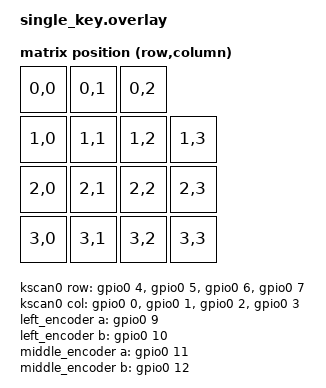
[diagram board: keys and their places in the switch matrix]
#include <dt-bindings/zmk/matrix_transform.h>
#include <zephyr/dt-bindings/input/input-event-codes.h>
/* Reference: https://docs.zephyrproject.org/apidoc/latest/group__input__events.html */

&adc {
	status = "okay";
};

/ {
	kscan0: kscan0 {
		compatible = "zmk,kscan-gpio-matrix";
		diode-direction = "col2row";
		wakeup-source;
		
		col-gpios
		= <&gpio0 0 GPIO_ACTIVE_HIGH>
		, <&gpio0 1 GPIO_ACTIVE_HIGH>
		, <&gpio0 2 GPIO_ACTIVE_HIGH>
		, <&gpio0 3 GPIO_ACTIVE_HIGH>
		;
		
		row-gpios
		= <&gpio0 4 (GPIO_ACTIVE_HIGH | GPIO_PULL_DOWN)>
		, <&gpio0 5 (GPIO_ACTIVE_HIGH | GPIO_PULL_DOWN)>
		, <&gpio0 6 (GPIO_ACTIVE_HIGH | GPIO_PULL_DOWN)>
		, <&gpio0 7 (GPIO_ACTIVE_HIGH | GPIO_PULL_DOWN)>
		;
	};
	
	left_encoder: encoder_left {
		compatible = "alps,ec11";
		a-gpios = <&gpio0 9 (GPIO_ACTIVE_HIGH | GPIO_PULL_UP)>;
		b-gpios = <&gpio0 10 (GPIO_ACTIVE_HIGH | GPIO_PULL_UP)>;
	};
	
	middle_encoder: encoder_middle {
		compatible = "alps,ec11";
		a-gpios = <&gpio0 11 (GPIO_ACTIVE_HIGH | GPIO_PULL_UP)>;
		b-gpios = <&gpio0 12 (GPIO_ACTIVE_HIGH | GPIO_PULL_UP)>;
	};
	
	right_encoder: encoder_right {
		compatible = "alps,ec11";
		a-gpios = <&gpio0 13 (GPIO_ACTIVE_HIGH | GPIO_PULL_UP)>;
		b-gpios = <&gpio0 14 (GPIO_ACTIVE_HIGH | GPIO_PULL_UP)>;
	};

	anin0: analog_input_0 {
		compatible = "zmk,analog-input";
		sampling-hz = <100>;
		x-ch {
			io-channels = <&adc 0>;
			mv-mid = <1630>;
			mv-min-max = <1600>;
			mv-deadzone = <10>;
			scale-multiplier = <1>;
			scale-divisor = <70>;
			invert;
			evt-type = <INPUT_EV_REL>;
			input-code = <INPUT_REL_X>;
		};
		y-ch {
			io-channels = <&adc 1>;
			mv-mid = <1630>;
			mv-min-max = <1600>;
			mv-deadzone = <10>;
			scale-multiplier = <3>;
			scale-divisor = <4>;
			invert;
			evt-type = <INPUT_EV_REL>;
			input-code = <INPUT_REL_Y>;

			/* enable report mdoe for gamepad axix or knob */
			/* to only call input_report on quantquantized value is updated */
			// report-on-change-only;

		};
	};
	
	default_transform: keymap_transform0 {
		compatible = "zmk,matrix-transform";
		columns = <4>;// Length of the "col-gpios" array
		rows = <4>;// Length of the "row-gpios" array
		map = <
		//   Key 1 | Key 2 | Key 3 
		RC(0,0) RC(0,1) RC(0,2)
		//   Key 4 | Key 5 | Key 6 | Key 7
		RC(1,0) RC(1,1) RC(1,2) RC(1,3)
		//   Key 8 | Key 9 | Key 10 | Key 11
		RC(2,0) RC(2,1) RC(2,2) RC(2,3)
		//   Key 12 | Key 13 | Key 14 | Key 15
		RC(3,0) RC(3,1) RC(3,2) RC(3,3)
		>;
	};
	
	default_layout: default_layout {
		compatible = "zmk,physical-layout";
		display-name = "Default Layout";
		transform = <&default_transform>;
		kscan = <&kscan0>;
	};
	
	chosen {
		zmk,physical-layout = &default_layout;
		// Other chosen items
		zmk,underglow = &led_strip;
	};
	
	
	sensors {
		compatible = "zmk,keymap-sensors";
		sensors = <&left_encoder &middle_encoder &right_encoder> ;
		triggers-per-rotation = <20>;
	};

	
	
};



// &adc {
// 	status = "okay";
// };

// / {
// 	anin0: analog_input_0 {
// 		compatible = "zmk,analog-input";
// 		sampling-hz = <100>;
// 		x-ch {
// 			io-channels = <&adc 2>;
// 			mv-mid = <1630>;
// 			mv-min-max = <1600>;
// 			mv-deadzone = <10>;
// 			scale-multiplier = <1>;
// 			scale-divisor = <70>;
// 			invert;
// 			evt-type = <INPUT_EV_REL>;
// 			input-code = <INPUT_REL_X>;
// 		};
// 		y-ch {
// 			io-channels = <&adc 3>;
// 			mv-mid = <1630>;
// 			mv-min-max = <1600>;
// 			mv-deadzone = <10>;
// 			scale-multiplier = <1>;
// 			scale-divisor = <70>;
// 			invert;
// 			evt-type = <INPUT_EV_REL>;
// 			input-code = <INPUT_REL_Y>;
// 		};
// 	};
// };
